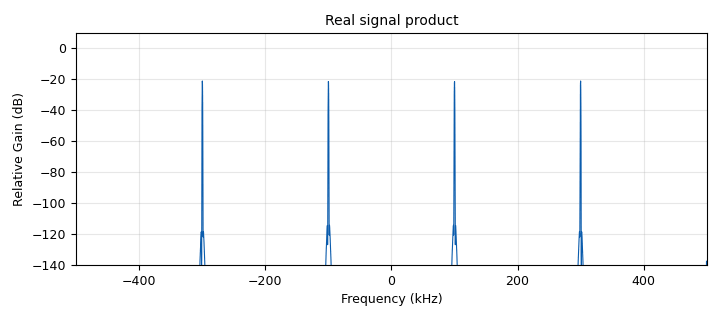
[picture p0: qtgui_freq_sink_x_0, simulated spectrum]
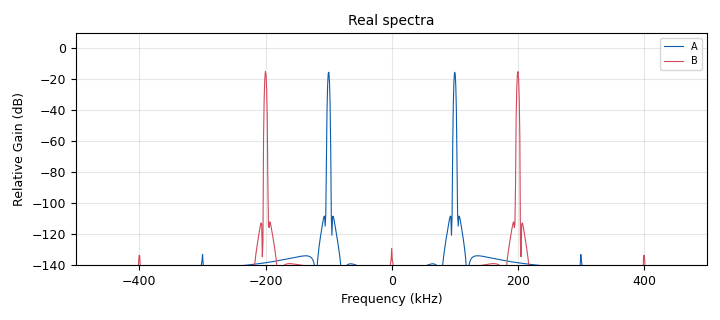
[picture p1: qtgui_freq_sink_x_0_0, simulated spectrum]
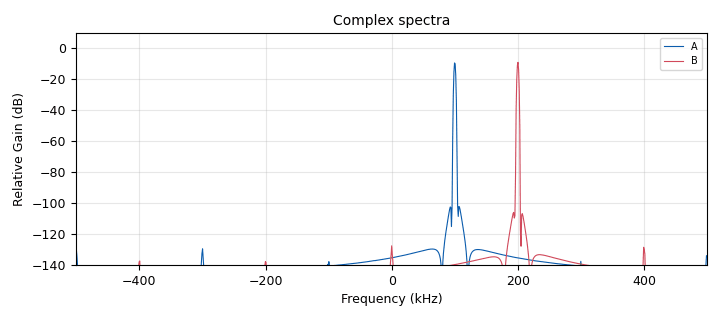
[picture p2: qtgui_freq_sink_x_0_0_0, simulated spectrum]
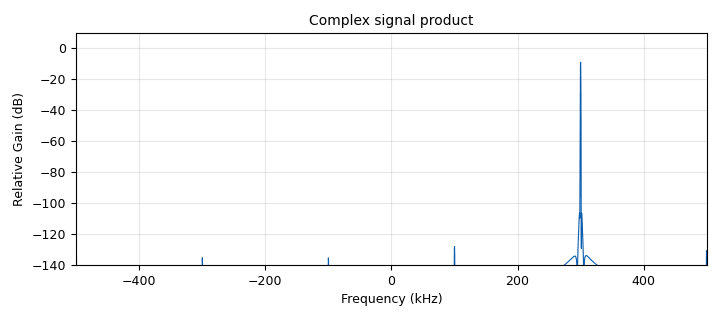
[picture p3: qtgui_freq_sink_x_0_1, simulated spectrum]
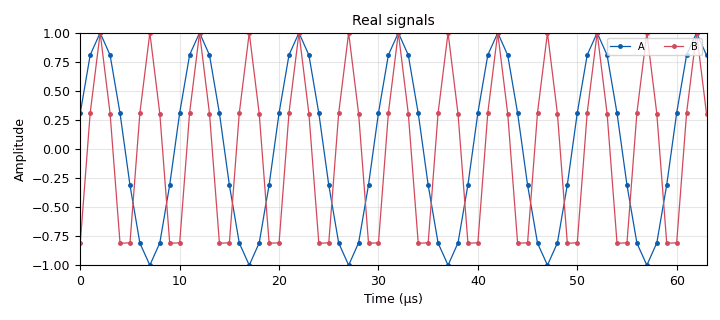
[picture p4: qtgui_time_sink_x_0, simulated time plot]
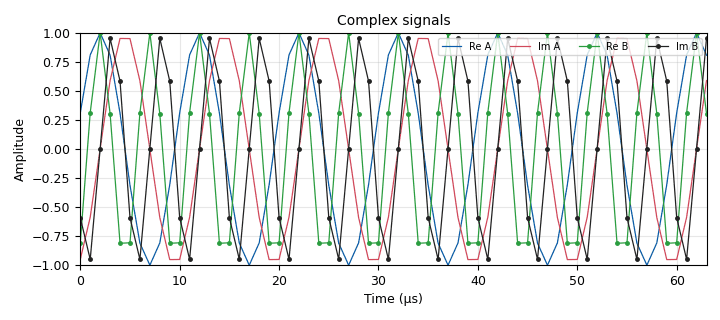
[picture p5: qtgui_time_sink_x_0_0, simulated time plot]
options:
  parameters:
    generate_options: qt_gui
    id: Real_vs_complex_signals
    output_language: python
    title: Real vs. complex signals
  states: {}

blocks:
- name: freq_A
  id: variable_qtgui_range
  parameters:
    label: A frequency (Hz)
    start: '-500e3'
    step: 1e3
    stop: 500e3
    value: 100e3
  states: {}
- name: freq_B
  id: variable_qtgui_range
  parameters:
    label: B frequency (Hz)
    start: '-500e3'
    step: 1e3
    stop: 500e3
    value: 200e3
  states: {}
- name: samp_rate
  id: variable
  parameters:
    value: 1e6
  states: {}
- name: analog_sig_source_x_0
  id: analog_sig_source_x
  parameters:
    amp: '1'
    comment: Signal A real
    freq: freq_A
    offset: '0'
    phase: '0'
    samp_rate: samp_rate
    type: float
    waveform: analog.GR_COS_WAVE
  states: {}
- name: analog_sig_source_x_0_0
  id: analog_sig_source_x
  parameters:
    amp: '1'
    comment: Signal A complex
    freq: freq_A
    offset: '0'
    phase: '0'
    samp_rate: samp_rate
    type: complex
    waveform: analog.GR_COS_WAVE
  states: {}
- name: analog_sig_source_x_1
  id: analog_sig_source_x
  parameters:
    amp: '1'
    comment: Signal B real
    freq: freq_B
    offset: '0'
    phase: '0'
    samp_rate: samp_rate
    type: float
    waveform: analog.GR_COS_WAVE
  states: {}
- name: analog_sig_source_x_1_0
  id: analog_sig_source_x
  parameters:
    amp: '1'
    comment: Signal B complex
    freq: freq_B
    offset: '0'
    phase: '0'
    samp_rate: samp_rate
    type: complex
    waveform: analog.GR_COS_WAVE
  states: {}
- name: blocks_multiply_xx_0
  id: blocks_multiply_xx
  parameters:
    type: float
  states: {}
- name: blocks_multiply_xx_0_0
  id: blocks_multiply_xx
  parameters:
    type: complex
  states: {}
- name: blocks_throttle_0
  id: blocks_throttle
  parameters:
    samples_per_second: samp_rate
    type: float
  states: {}
- name: qtgui_freq_sink_x_0
  id: qtgui_freq_sink_x
  parameters:
    bw: samp_rate
    fc: '0'
    fftsize: '4096'
    gui_hint: (0, 2, 1, 1)
    label1: Real product
    legend: 'False'
    name: '"Real signal product"'
    type: float
  states: {}
- name: qtgui_freq_sink_x_0_0
  id: qtgui_freq_sink_x
  parameters:
    bw: samp_rate
    fc: '0'
    fftsize: '1024'
    gui_hint: (0, 1, 1, 1)
    label1: A
    label2: B
    name: '"Real spectra"'
    nconnections: '2'
    type: float
  states: {}
- name: qtgui_freq_sink_x_0_0_0
  id: qtgui_freq_sink_x
  parameters:
    bw: samp_rate
    fc: '0'
    fftsize: '1024'
    freqhalf: 'False'
    gui_hint: (1, 1, 1, 1)
    label1: A
    label2: B
    name: '"Complex spectra"'
    nconnections: '2'
    type: complex
  states: {}
- name: qtgui_freq_sink_x_0_1
  id: qtgui_freq_sink_x
  parameters:
    bw: samp_rate
    fc: '0'
    fftsize: '4096'
    freqhalf: 'False'
    gui_hint: (1, 2, 1, 1)
    legend: 'False'
    name: '"Complex signal product"'
    type: complex
  states: {}
- name: qtgui_time_sink_x_0
  id: qtgui_time_sink_x
  parameters:
    gui_hint: (0, 0, 1, 1)
    label1: A
    label2: B
    marker1: '0'
    marker2: '0'
    name: '"Real signals"'
    nconnections: '2'
    size: '64'
    srate: samp_rate
    tr_level: '0.75'
    tr_mode: qtgui.TRIG_MODE_NORM
    type: float
  states: {}
- name: qtgui_time_sink_x_0_0
  id: qtgui_time_sink_x
  parameters:
    color3: blue
    color4: red
    gui_hint: (1, 0, 1, 1)
    label1: Re A
    label2: Im A
    label3: Re B
    label4: Im B
    marker3: '0'
    marker4: '0'
    name: '"Complex signals"'
    nconnections: '2'
    size: '64'
    srate: samp_rate
    tr_level: '0.75'
    tr_mode: qtgui.TRIG_MODE_NORM
    type: complex
  states: {}

connections:
- [analog_sig_source_x_0, '0', blocks_throttle_0, '0']
- [analog_sig_source_x_0_0, '0', blocks_multiply_xx_0_0, '0']
- [analog_sig_source_x_0_0, '0', qtgui_freq_sink_x_0_0_0, '0']
- [analog_sig_source_x_0_0, '0', qtgui_time_sink_x_0_0, '0']
- [analog_sig_source_x_1, '0', blocks_multiply_xx_0, '1']
- [analog_sig_source_x_1, '0', qtgui_freq_sink_x_0_0, '1']
- [analog_sig_source_x_1, '0', qtgui_time_sink_x_0, '1']
- [analog_sig_source_x_1_0, '0', blocks_multiply_xx_0_0, '1']
- [analog_sig_source_x_1_0, '0', qtgui_freq_sink_x_0_0_0, '1']
- [analog_sig_source_x_1_0, '0', qtgui_time_sink_x_0_0, '1']
- [blocks_multiply_xx_0, '0', qtgui_freq_sink_x_0, '0']
- [blocks_multiply_xx_0_0, '0', qtgui_freq_sink_x_0_1, '0']
- [blocks_throttle_0, '0', blocks_multiply_xx_0, '0']
- [blocks_throttle_0, '0', qtgui_freq_sink_x_0_0, '0']
- [blocks_throttle_0, '0', qtgui_time_sink_x_0, '0']

metadata:
  file_format: 1
